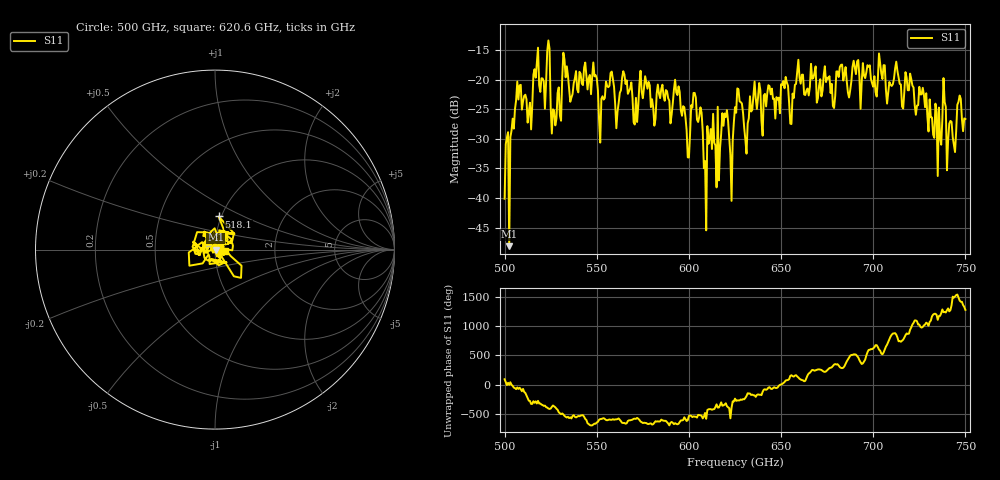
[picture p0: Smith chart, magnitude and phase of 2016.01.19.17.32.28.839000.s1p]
!Created with skrf (http://scikit-rf.org).
# GHz S RI R 50.0
!freq ReS11 ImS11
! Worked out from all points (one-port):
!   401 points, 500 GHz to 750 GHz, reference 50 ohm
!   lowest |S11| = -48.1 dB at 502.5 GHz (marker M1), VSWR 1.01, Z = 50.4 - j0.0194 ohm
!   |S11| at or under -10 dB: start of sweep to end of sweep
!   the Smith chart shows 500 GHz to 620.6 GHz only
!   S11 on the Smith chart (normalised r, x): 500 GHz: 1.00, +0.02; 518.1 GHz: 0.97, +0.37; 620.6 GHz: 1.12, -0.02
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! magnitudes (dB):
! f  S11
! 500 GHz  -40.1
! 502.5 GHz  -48.1
! 507.5 GHz  -23.4
! 513.8 GHz  -23.9
! 518.1 GHz  -14.6
! 523.8 GHz  -13.4
! 526.9 GHz  -25.2
! 531.2 GHz  -19.7
! 562.5 GHz  -22.2
! 593.8 GHz  -22.6
! 599.4 GHz  -33.1
! 603.8 GHz  -23.0
! 609.4 GHz  -45.5
! 620.6 GHz  -25.1
! 623.1 GHz  -40.5
! 625 GHz  -24.7
! 627.5 GHz  -23.7
! 631.2 GHz  -32.5
! 634.4 GHz  -25.1
! 651.9 GHz  -21.5
! 656.2 GHz  -22.4
! 660 GHz  -19.7
! 687.5 GHz  -21.8
! 718.8 GHz  -21.8
! 736.2 GHz  -29.8
! 738.1 GHz  -19.8
! 741.2 GHz  -27.5
! 750 GHz  -26.7
